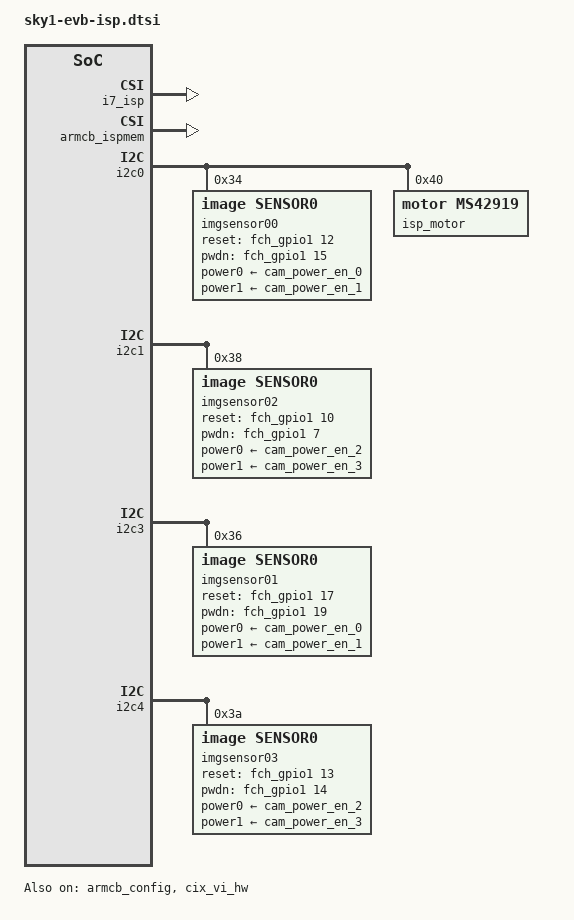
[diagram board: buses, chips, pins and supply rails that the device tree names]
&i7_isp {
	status = "okay";
};

&armcb_config {
	status = "okay";
};

&armcb_ispmem {
	status = "okay";
};

&cix_vi_hw {
	status = "okay";
};

&cam_power_en_0 {
	status = "okay";
};

&cam_power_en_1 {
	status = "okay";
};

&cam_power_en_2 {
	status = "okay";
};

&cam_power_en_3 {
	status = "okay";
};

&i2c0 {
	imgsensor00: imgsensor00@34 {
		compatible = "image,sensor0";
		#address-cells = <1>;
		#size-cells = <0>;
		reg = <0x34>;
		pinctrl-names = "default","gpio";
		pinctrl-0 = <&pinctrl_cam0_hw>;
		pinctrl-1 = <&pinctrl_cam0_hw>;
		power0-supply = <&cam_power_en_0>;
		power1-supply = <&cam_power_en_1>;
		reset-gpios = <&fch_gpio1 12 GPIO_ACTIVE_HIGH>;
		pwdn-gpios = <&fch_gpio1 15 GPIO_ACTIVE_HIGH>;
		clocks = <&scmi_clk CLK_TREE_CAMERA_MCLK0>;
		clock-names = "mclk";
		cix,camera-module-index = <0>;
		actuator-src = <&isp_motor>;
		isp-src = <&i7_isp>;
		status = "okay";
	};

	isp_motor: motor0@40 {
		compatible = "motor,ms42919";
		#address-cells = <1>;
		#size-cells = <0>;
		reg = <0x40>;
		pi-max-frequency = <124999999>;
		status = "okay";
	};
};

&i2c1 {
	imgsensor02: imgsensor02@38 {
		compatible = "image,sensor0";
		#address-cells = <1>;
		#size-cells = <0>;
		reg = <0x38>;
		pinctrl-names = "default","gpio";
		pinctrl-0 = <&pinctrl_cam2_hw>;
		pinctrl-1 = <&pinctrl_cam2_hw>;
		power0-supply = <&cam_power_en_2>;
		power1-supply = <&cam_power_en_3>;
		reset-gpios = <&fch_gpio1 10 GPIO_ACTIVE_HIGH>;
		pwdn-gpios = <&fch_gpio1 7 GPIO_ACTIVE_HIGH>;
		clocks = <&scmi_clk CLK_TREE_CAMERA_MCLK2>;
		clock-names = "mclk";

		cix,camera-module-index = <2>;
		status = "okay";
	};
};

&i2c3 {
	imgsensor01: imgsensor01@36 {
		compatible = "image,sensor0";
		#address-cells = <1>;
		#size-cells = <0>;
		reg = <0x36>;
		pinctrl-names = "default","gpio";
		pinctrl-0 = <&pinctrl_cam1_hw>;
		pinctrl-1 = <&pinctrl_cam1_hw>;
		power0-supply = <&cam_power_en_0>;
		power1-supply = <&cam_power_en_1>;
		reset-gpios = <&fch_gpio1 17 GPIO_ACTIVE_HIGH>;
		pwdn-gpios = <&fch_gpio1 19 GPIO_ACTIVE_HIGH>;
		clocks = <&scmi_clk CLK_TREE_CAMERA_MCLK1>;
		clock-names = "mclk";
		cix,camera-module-index = <1>;
		status = "okay";
	};
};

&i2c4 {
	imgsensor03: imgsensor03@3a {
		compatible = "image,sensor0";
		#address-cells = <1>;
		#size-cells = <0>;
		reg = <0x3a>;
		pinctrl-names = "default","gpio";
		pinctrl-0 = <&pinctrl_cam3_hw>;
		pinctrl-1 = <&pinctrl_cam3_hw>;
		power0-supply = <&cam_power_en_2>;
		power1-supply = <&cam_power_en_3>;
		reset-gpios = <&fch_gpio1 13 GPIO_ACTIVE_HIGH>;
		pwdn-gpios = <&fch_gpio1 14 GPIO_ACTIVE_HIGH>;
		clocks = <&scmi_clk CLK_TREE_CAMERA_MCLK3>;
		clock-names = "mclk";
		cix,camera-module-index = <3>;
		status = "okay";
	};
};
